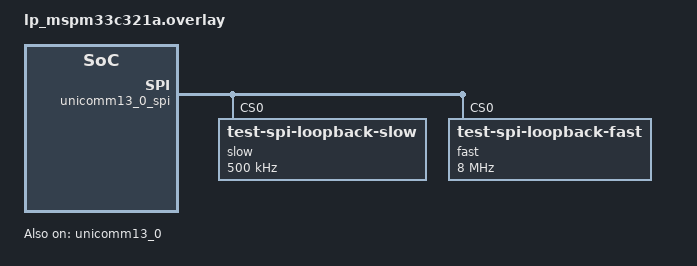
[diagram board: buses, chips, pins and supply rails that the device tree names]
/*
 * Copyright (c) 2026 Texas Instruments Incorporated
 * SPDX-License-Identifier: Apache-2.0
 */

&unicomm13_0 {
	status = "okay";
};

&unicomm13_0_spi {
	status = "okay";

	slow@0 {
		compatible = "test-spi-loopback-slow";
		reg = <0>;
		spi-max-frequency = <500000>;
	};

	fast@0 {
		compatible = "test-spi-loopback-fast";
		reg = <0>;
		spi-max-frequency = <8000000>;
	};
};
